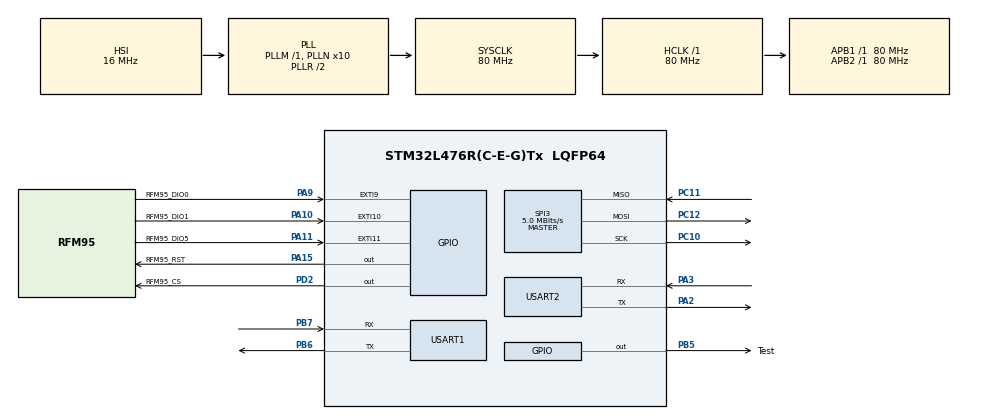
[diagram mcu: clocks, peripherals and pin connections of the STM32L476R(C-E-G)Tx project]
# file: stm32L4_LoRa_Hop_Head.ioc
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Dma.Request0=USART2_TX
Dma.USART2_TX.0.Direction=DMA_MEMORY_TO_PERIPH
Dma.USART2_TX.0.Instance=DMA1_Channel7
Dma.USART2_TX.0.MemDataAlignment=DMA_MDATAALIGN_BYTE
Dma.USART2_TX.0.MemInc=DMA_MINC_ENABLE
Dma.USART2_TX.0.Mode=DMA_NORMAL
Dma.USART2_TX.0.PeriphDataAlignment=DMA_PDATAALIGN_BYTE
Dma.USART2_TX.0.PeriphInc=DMA_PINC_DISABLE
Dma.USART2_TX.0.Priority=DMA_PRIORITY_LOW
Mcu.Family=STM32L4
Mcu.Name=STM32L476R(C-E-G)Tx
Mcu.Package=LQFP64
NVIC.DMA1_Channel7_IRQn=true\:0\:0\:false\:false\:true\:false\:true\:true
NVIC.EXTI15_10_IRQn=true\:0\:0\:false\:false\:true\:true\:true\:true
NVIC.EXTI9_5_IRQn=true\:0\:0\:false\:false\:true\:true\:true\:true
NVIC.LPTIM1_IRQn=true\:0\:0\:false\:false\:true\:true\:true\:true
NVIC.PriorityGroup=NVIC_PRIORITYGROUP_4
NVIC.RTC_WKUP_IRQn=true\:0\:0\:false\:false\:true\:true\:true\:true
NVIC.USART2_IRQn=true\:0\:0\:false\:false\:true\:true\:true\:true
PA10.GPIO_Label=RFM95_DIO1
PA10.Signal=GPXTI10
PA11.GPIO_Label=RFM95_DIO5
PA11.Signal=GPXTI11
PA13\ (JTMS-SWDIO).GPIO_Label=TMS
PA13\ (JTMS-SWDIO).Mode=Serial_Wire
PA13\ (JTMS-SWDIO).Signal=SYS_JTMS-SWDIO
PA14\ (JTCK-SWCLK).GPIO_Label=TCK
PA14\ (JTCK-SWCLK).Mode=Serial_Wire
PA14\ (JTCK-SWCLK).Signal=SYS_JTCK-SWCLK
PA15\ (JTDI).GPIO_Label=RFM95_RST
PA15\ (JTDI).GPIO_ModeDefaultOutputPP=GPIO_MODE_OUTPUT_OD
PA15\ (JTDI).GPIO_PuPd=GPIO_NOPULL
PA15\ (JTDI).PinState=GPIO_PIN_SET
PA15\ (JTDI).Signal=GPIO_Output
PA2.Mode=Asynchronous
PA2.Signal=USART2_TX
PA3.Mode=Asynchronous
PA3.Signal=USART2_RX
PA9.GPIO_Label=RFM95_DIO0
PA9.Signal=GPXTI9
PB3\ (JTDO-TRACESWO).GPIO_Label=SWO
PB3\ (JTDO-TRACESWO).Signal=SYS_JTDO-SWO
PB5.GPIO_Label=Test
PB5.Signal=GPIO_Output
PB6.Mode=Asynchronous
PB6.Signal=USART1_TX
PB7.GPIO_PuPd=GPIO_PULLDOWN
PB7.Mode=Asynchronous
PB7.Signal=USART1_RX
PC10.Mode=Full_Duplex_Master
PC10.Signal=SPI3_SCK
PC11.GPIO_PuPd=GPIO_PULLUP
PC11.Mode=Full_Duplex_Master
PC11.Signal=SPI3_MISO
PC12.Mode=Full_Duplex_Master
PC12.Signal=SPI3_MOSI
PC14-OSC32_IN\ (PC14).Mode=LSE-External-Oscillator
PC14-OSC32_IN\ (PC14).Signal=RCC_OSC32_IN
PC15-OSC32_OUT\ (PC15).Mode=LSE-External-Oscillator
PC15-OSC32_OUT\ (PC15).Signal=RCC_OSC32_OUT
PD2.GPIO_Label=RFM95_CS
PD2.GPIO_ModeDefaultOutputPP=GPIO_MODE_OUTPUT_PP
PD2.GPIO_PuPd=GPIO_PULLUP
PD2.GPIO_Speed=GPIO_SPEED_FREQ_MEDIUM
PD2.PinState=GPIO_PIN_SET
PD2.Signal=GPIO_Output
ProjectManager.HeapSize=0x200
ProjectManager.StackSize=0x400
ProjectManager.TargetToolchain=STM32CubeIDE
RCC.ADCFreq_Value=64000000
RCC.AHBFreq_Value=80000000
RCC.APB1Freq_Value=80000000
RCC.APB1TimFreq_Value=80000000
RCC.APB2Freq_Value=80000000
RCC.APB2TimFreq_Value=80000000
RCC.CK48CLockSelection=RCC_USBCLKSOURCE_PLL
RCC.CortexFreq_Value=80000000
RCC.HCLKFreq_Value=80000000
RCC.HSE_VALUE=8000000
RCC.HSI_VALUE=16000000
RCC.LPTIM1CLockSelection=RCC_LPTIM1CLKSOURCE_LSE
RCC.MSI_VALUE=4000000
RCC.PLLN=10
RCC.PLLQ=RCC_PLLQ_DIV8
RCC.PLLSourceVirtual=RCC_PLLSOURCE_HSI
RCC.PREFETCH_ENABLE=1
RCC.RTCClockSelection=RCC_RTCCLKSOURCE_LSE
RCC.SYSCLKFreq_VALUE=80000000
RCC.SYSCLKSource=RCC_SYSCLKSOURCE_PLLCLK
RCC.USBFreq_Value=20000000
RCC.VCOOutputFreq_Value=160000000
SPI3.BaudRatePrescaler=SPI_BAUDRATEPRESCALER_16
SPI3.CalculateBaudRate=5.0 MBits/s
SPI3.DataSize=SPI_DATASIZE_8BIT
SPI3.Direction=SPI_DIRECTION_2LINES
SPI3.Mode=SPI_MODE_MASTER
SPI3.VirtualType=VM_MASTER
USART1.VirtualMode-Asynchronous=VM_ASYNC
USART2.VirtualMode-Asynchronous=VM_ASYNC
VP_LPTIM1_VS_LPTIM_counterModeInternalClock.Mode=Counts__internal_clock_event_00
VP_RNG_VS_RNG.Mode=RNG_Activate
VP_RTC_VS_RTC_Activate.Mode=RTC_Enabled
VP_RTC_VS_RTC_Calendar.Mode=RTC_Calendar
VP_RTC_VS_RTC_WakeUp_intern.Mode=WakeUp
board=NUCLEO-L476RG

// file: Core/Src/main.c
/* USER CODE BEGIN Header */
/**
  ******************************************************************************
  * @file           : main.c
  * @brief          : Main program body
  ******************************************************************************
  * @attention
  *
  * Copyright (c) 2025 STMicroelectronics.
  * All rights reserved.
  *
  * This software is licensed under terms that can be found in the LICENSE file
  * in the root directory of this software component.
  * If no LICENSE file comes with this software, it is provided AS-IS.
  *
  ******************************************************************************
  */
/* USER CODE END Header */
#include "main.h"

/* USER CODE BEGIN Includes */
#include "stdio.h"
#include "string.h"
#include "lora.h"
#include "network_manager.h"
/* USER CODE END Includes */

/* USER CODE BEGIN PTD */
// rfm95 handler
rfm95_handle_t rfm95_handle = {0};

// network staus handler
network_ctx_t h_net = {0};

// RX PKT
typedef struct{
  uint8_t tx_attempts;  // TX attempts performed for this specific payload

  bool ack;             // Track ACKs for this packet

  uint8_t nodeID;       // Node ID for this packet

  uint16_t pktID;       // pkt ID to identify this specific payload

  uint8_t rx_bcID;      // ID of the breadcrumb that has received this packet from the environmental node

  uint8_t tx_bcID;      // ID of the breadcrumb that has transmitted this packet to this node

  uint8_t pl_len;       // Number of bytes of the entire packet

  uint8_t pl[LORA_PAYLOAD_MAX_SIZE]; // Pointer to the entire payload received (Buffer size fixed to avoid dynamic memory allocation)
} bc_pkt;

/* USER CODE END PTD */

LPTIM_HandleTypeDef hlptim1;

RNG_HandleTypeDef hrng;

RTC_HandleTypeDef hrtc;

SPI_HandleTypeDef hspi3;

UART_HandleTypeDef huart1;
UART_HandleTypeDef huart2;
DMA_HandleTypeDef hdma_usart2_tx;

/* USER CODE BEGIN PV */
// ------------- LPTIM ----------------
volatile uint32_t lptim_tick_msb = 1;

// handle RX and TX events
volatile bool rx_data;
volatile bool tx_data;

uint8_t serBuff[255];
uint8_t serBuff_len = 0;

volatile bool dmaRunning = false;

/* USER CODE END PV */

void SystemClock_Config(void);
static void MX_GPIO_Init(void);
static void MX_DMA_Init(void);
static void MX_RTC_Init(void);
static void MX_SPI3_Init(void);
static void MX_LPTIM1_Init(void);
static void MX_RNG_Init(void);
static void MX_USART1_UART_Init(void);
static void MX_USART2_UART_Init(void);
/* USER CODE BEGIN PFP */
int _write(int file, char *ptr, int len);
void debug_pin_set();
void debug_pin_rst();

static bool     init_rfm();
static uint32_t get_precision_tick();
static void 		precision_sleep_until(uint32_t target_ticks);
static uint8_t	get_battery_level();
static void     rfm95_after_interrupts_configured();

events_flags onRxEvt(rfm95_handle_t *h_rfm, bc_pkt *rx_pkt, network_ctx_t *h_net);
events_flags onTxEvt(rfm95_handle_t *h_rfm, bc_pkt *tx_pkt, network_ctx_t *h_net);

uint8_t get_random_number(uint32_t *random_number, uint16_t timeout);
static uint16_t random_wait(uint16_t min, uint16_t max);
static uint32_t get_currTime_ms();
static inline int julian_day(int year, int month, int day);

void MySystemClock_Config(void);
void enterStopMode();
/* USER CODE END PFP */

int main(void)
{

  /* MCU Configuration--------------------------------------------------------*/

  /* Reset of all peripherals, Initializes the Flash interface and the Systick. */
  HAL_Init();

  /* Configure the system clock */
  SystemClock_Config();

  /* Initialize all configured peripherals */
  MX_GPIO_Init();
  MX_DMA_Init();
  MX_RTC_Init();
  MX_SPI3_Init();
  MX_LPTIM1_Init();
  MX_RNG_Init();
  MX_USART1_UART_Init();
  MX_USART2_UART_Init();
  /* USER CODE BEGIN 2 */

  // needed after programming -> avoid conflicts with sleep mode
  HAL_Delay(2000);

  /*
   * Initialize network context as ROOT node.
   */
  network_init_root(&h_net);

  // init RF in RX mode
  if (!init_rfm()) {
#if DEBUG_PRINT_ON
    printf("Error during RFM initialization\r\n");
#endif
  }

  /* USER CODE END 2 */

  /* Infinite loop */
  /* USER CODE BEGIN WHILE */
  while (1){

    bc_pkt rx_pkt = {0};

    /* USER CODE END WHILE */

    /* USER CODE BEGIN 3 */
    if (rx_data) {

      // clear RX flag
      rx_data = 0;

      // Something recevived -> Process informations
      events_flags rx_flags = {0};
      rx_flags = onRxEvt(&rfm95_handle, &rx_pkt, &h_net);

      if (rx_flags.err_flags != 0)
      {
        // Error occurred...
        bool spi_err = rx_flags.err_flags & EVT_RFM_SPI_ERR;
        bool rx_err  = rx_flags.err_flags & EVT_RFM_RX_ERR;
        bool bad_pkt = rx_flags.err_flags & EVT_BAD_PKT_FORMAT;

        if (spi_err)
        {

          // reset RFM and restart in RX mode
          HAL_NVIC_DisableIRQ(EXTI15_10_IRQn);
          reset_rfm(&rfm95_handle);
          init_rfm();
        }
        if (rx_err)
        {
          // PKT dropped, do nothing...
        }
        if (bad_pkt)
        {

        }

      }

      else
      {
        // Plot payload on serial:
      	if ((dmaRunning == false) && (serBuff_len != 0))
      	{
      		HAL_UART_Transmit_DMA(&huart2, serBuff, serBuff_len);
					dmaRunning = true;
      	}
      }

      if (rfm95_handle.rfm_status != RXCONTIN_MODE)
      {
        // back in RX mode
        if (!tx_data) rfm95_enter_rx_mode(&rfm95_handle);
        else
        {
          // Tx pending -> before going back to RX mode TX must be performed!
        }
      }

    }

    if (tx_data)
    {  /* TX Pending */

      // TX ACK for the BC nodes
      events_flags tx_err_flags = {0};
      tx_err_flags = onTxEvt(&rfm95_handle, &rx_pkt, &h_net);

      if (tx_err_flags.err_flags != 0)
      {
        // Error occurred...
        bool spi_err = tx_err_flags.err_flags & EVT_RFM_SPI_ERR;

        if (spi_err)
        {
#if DEBUG_PRINT_ON
          printf("SPI ERROR\r\n");
#endif

          // reset RFM and restart in RX mode
					HAL_NVIC_DisableIRQ(EXTI15_10_IRQn);
          reset_rfm(&rfm95_handle);
          init_rfm();
        }
      }

      else
      {
        // back in RX mode
      	if (rfm95_handle.rfm_status != RXCONTIN_MODE)
      	{
      		rfm95_enter_rx_mode(&rfm95_handle);
      	}
      }

      tx_data = 0;  // clear TX flag
    }

    /* Nothing left -> RFM must be in RX mode */
    if (!rx_data && !tx_data && rfm95_handle.rfm_status != RXCONTIN_MODE)
    {
    	// reset RFM and restart in RX mode
			HAL_NVIC_DisableIRQ(EXTI15_10_IRQn);
			reset_rfm(&rfm95_handle);
			if (!init_rfm()) HAL_Delay(500);

		}

    else
    { /* TRY TO SLEEP */

			/* atomicity ensured during sleep entering */
			HAL_SuspendTick();
			__disable_irq();

			if (!rx_data && ! tx_data && !dmaRunning)
			{
				enterStopMode();
			}

			/* end of atomic block */
			HAL_ResumeTick();
			__enable_irq();

		}

  } // End of While superloop
  /* USER CODE END 3 */
}

void SystemClock_Config(void)
{
  RCC_OscInitTypeDef RCC_OscInitStruct = {0};
  RCC_ClkInitTypeDef RCC_ClkInitStruct = {0};

  /** Configure the main internal regulator output voltage
  */
  if (HAL_PWREx_ControlVoltageScaling(PWR_REGULATOR_VOLTAGE_SCALE1) != HAL_OK)
  {
    Error_Handler();
  }

  /** Configure LSE Drive Capability
  */
  HAL_PWR_EnableBkUpAccess();
  __HAL_RCC_LSEDRIVE_CONFIG(RCC_LSEDRIVE_LOW);

  /** Initializes the RCC Oscillators according to the specified parameters
  * in the RCC_OscInitTypeDef structure.
  */
  RCC_OscInitStruct.OscillatorType = RCC_OSCILLATORTYPE_HSI|RCC_OSCILLATORTYPE_LSE;
  RCC_OscInitStruct.LSEState = RCC_LSE_ON;
  RCC_OscInitStruct.HSIState = RCC_HSI_ON;
  RCC_OscInitStruct.HSICalibrationValue = RCC_HSICALIBRATION_DEFAULT;
  RCC_OscInitStruct.PLL.PLLState = RCC_PLL_ON;
  RCC_OscInitStruct.PLL.PLLSource = RCC_PLLSOURCE_HSI;
  RCC_OscInitStruct.PLL.PLLM = 1;
  RCC_OscInitStruct.PLL.PLLN = 10;
  RCC_OscInitStruct.PLL.PLLP = RCC_PLLP_DIV7;
  RCC_OscInitStruct.PLL.PLLQ = RCC_PLLQ_DIV8;
  RCC_OscInitStruct.PLL.PLLR = RCC_PLLR_DIV2;
  if (HAL_RCC_OscConfig(&RCC_OscInitStruct) != HAL_OK)
  {
    Error_Handler();
  }

  /** Initializes the CPU, AHB and APB buses clocks
  */
  RCC_ClkInitStruct.ClockType = RCC_CLOCKTYPE_HCLK|RCC_CLOCKTYPE_SYSCLK
                              |RCC_CLOCKTYPE_PCLK1|RCC_CLOCKTYPE_PCLK2;
  RCC_ClkInitStruct.SYSCLKSource = RCC_SYSCLKSOURCE_PLLCLK;
  RCC_ClkInitStruct.AHBCLKDivider = RCC_SYSCLK_DIV1;
  RCC_ClkInitStruct.APB1CLKDivider = RCC_HCLK_DIV1;
  RCC_ClkInitStruct.APB2CLKDivider = RCC_HCLK_DIV1;

  if (HAL_RCC_ClockConfig(&RCC_ClkInitStruct, FLASH_LATENCY_4) != HAL_OK)
  {
    Error_Handler();
  }
}

static void MX_LPTIM1_Init(void)
{

  hlptim1.Instance = LPTIM1;
  hlptim1.Init.Clock.Source = LPTIM_CLOCKSOURCE_APBCLOCK_LPOSC;
  hlptim1.Init.Clock.Prescaler = LPTIM_PRESCALER_DIV1;
  hlptim1.Init.Trigger.Source = LPTIM_TRIGSOURCE_SOFTWARE;
  hlptim1.Init.OutputPolarity = LPTIM_OUTPUTPOLARITY_HIGH;
  hlptim1.Init.UpdateMode = LPTIM_UPDATE_IMMEDIATE;
  hlptim1.Init.CounterSource = LPTIM_COUNTERSOURCE_INTERNAL;
  hlptim1.Init.Input1Source = LPTIM_INPUT1SOURCE_GPIO;
  hlptim1.Init.Input2Source = LPTIM_INPUT2SOURCE_GPIO;
  if (HAL_LPTIM_Init(&hlptim1) != HAL_OK)
  {
    Error_Handler();
  }

}

static void MX_RNG_Init(void)
{

  hrng.Instance = RNG;
  if (HAL_RNG_Init(&hrng) != HAL_OK)
  {
    Error_Handler();
  }

}

static void MX_RTC_Init(void)
{

  RTC_TimeTypeDef sTime = {0};
  RTC_DateTypeDef sDate = {0};

  /** Initialize RTC Only
  */
  hrtc.Instance = RTC;
  hrtc.Init.HourFormat = RTC_HOURFORMAT_24;
  hrtc.Init.AsynchPrediv = 127;
  hrtc.Init.SynchPrediv = 255;
  hrtc.Init.OutPut = RTC_OUTPUT_DISABLE;
  hrtc.Init.OutPutRemap = RTC_OUTPUT_REMAP_NONE;
  hrtc.Init.OutPutPolarity = RTC_OUTPUT_POLARITY_HIGH;
  hrtc.Init.OutPutType = RTC_OUTPUT_TYPE_OPENDRAIN;
  if (HAL_RTC_Init(&hrtc) != HAL_OK)
  {
    Error_Handler();
  }

  /** Initialize RTC and set the Time and Date
  */
  sTime.Hours = 0x0;
  sTime.Minutes = 0x0;
  sTime.Seconds = 0x0;
  sTime.DayLightSaving = RTC_DAYLIGHTSAVING_NONE;
  sTime.StoreOperation = RTC_STOREOPERATION_RESET;
  if (HAL_RTC_SetTime(&hrtc, &sTime, RTC_FORMAT_BCD) != HAL_OK)
  {
    Error_Handler();
  }
  sDate.WeekDay = RTC_WEEKDAY_MONDAY;
  sDate.Month = RTC_MONTH_JANUARY;
  sDate.Date = 0x1;
  sDate.Year = 0x0;

  if (HAL_RTC_SetDate(&hrtc, &sDate, RTC_FORMAT_BCD) != HAL_OK)
  {
    Error_Handler();
  }
  /* USER CODE BEGIN RTC_Init 2 */

  // Init RTC with reference date
  sTime.Hours = 0x0;
  sTime.Minutes = 0x0;
  sTime.Seconds = 0x0;
  sTime.DayLightSaving = RTC_DAYLIGHTSAVING_NONE;
  sTime.StoreOperation = RTC_STOREOPERATION_RESET;
  if (HAL_RTC_SetTime(&hrtc, &sTime, RTC_FORMAT_BCD) != HAL_OK)
  {
    Error_Handler();
  }
  sDate.WeekDay = RTC_WEEKDAY_MONDAY;
  sDate.Month = START_MONTH;
  sDate.Date = START_DAY;
  sDate.Year = START_YEAR;

  if (HAL_RTC_SetDate(&hrtc, &sDate, RTC_FORMAT_BCD) != HAL_OK)
  {
    Error_Handler();
  }

  // make sure RTC wkup is not running:
  HAL_RTCEx_DeactivateWakeUpTimer(&hrtc);

  /* USER CODE END RTC_Init 2 */

}

static void MX_SPI3_Init(void)
{

  /* SPI3 parameter configuration*/
  hspi3.Instance = SPI3;
  hspi3.Init.Mode = SPI_MODE_MASTER;
  hspi3.Init.Direction = SPI_DIRECTION_2LINES;
  hspi3.Init.DataSize = SPI_DATASIZE_8BIT;
  hspi3.Init.CLKPolarity = SPI_POLARITY_LOW;
  hspi3.Init.CLKPhase = SPI_PHASE_1EDGE;
  hspi3.Init.NSS = SPI_NSS_SOFT;
  hspi3.Init.BaudRatePrescaler = SPI_BAUDRATEPRESCALER_16;
  hspi3.Init.FirstBit = SPI_FIRSTBIT_MSB;
  hspi3.Init.TIMode = SPI_TIMODE_DISABLE;
  hspi3.Init.CRCCalculation = SPI_CRCCALCULATION_DISABLE;
  hspi3.Init.CRCPolynomial = 7;
  hspi3.Init.CRCLength = SPI_CRC_LENGTH_DATASIZE;
  hspi3.Init.NSSPMode = SPI_NSS_PULSE_ENABLE;
  if (HAL_SPI_Init(&hspi3) != HAL_OK)
  {
    Error_Handler();
  }
  /* USER CODE BEGIN SPI3_Init 2 */
  /*
   * This dummy sequence sets clock LOW when idle, MOSI and MISO to a definite state (either HIGH or LOW)
   */
   uint8_t dummy = 0xFF;
   HAL_SPI_Transmit(&hspi3, &dummy, 1, 10);

  /* USER CODE END SPI3_Init 2 */

}

static void MX_USART1_UART_Init(void)
{

  huart1.Instance = USART1;
  huart1.Init.BaudRate = 115200;
  huart1.Init.WordLength = UART_WORDLENGTH_8B;
  huart1.Init.StopBits = UART_STOPBITS_1;
  huart1.Init.Parity = UART_PARITY_NONE;
  huart1.Init.Mode = UART_MODE_TX_RX;
  huart1.Init.HwFlowCtl = UART_HWCONTROL_NONE;
  huart1.Init.OverSampling = UART_OVERSAMPLING_16;
  huart1.Init.OneBitSampling = UART_ONE_BIT_SAMPLE_DISABLE;
  huart1.AdvancedInit.AdvFeatureInit = UART_ADVFEATURE_NO_INIT;
  if (HAL_UART_Init(&huart1) != HAL_OK)
  {
    Error_Handler();
  }

}

static void MX_USART2_UART_Init(void)
{

  huart2.Instance = USART2;
  huart2.Init.BaudRate = 115200;
  huart2.Init.WordLength = UART_WORDLENGTH_8B;
  huart2.Init.StopBits = UART_STOPBITS_1;
  huart2.Init.Parity = UART_PARITY_NONE;
  huart2.Init.Mode = UART_MODE_TX_RX;
  huart2.Init.HwFlowCtl = UART_HWCONTROL_NONE;
  huart2.Init.OverSampling = UART_OVERSAMPLING_16;
  huart2.Init.OneBitSampling = UART_ONE_BIT_SAMPLE_DISABLE;
  huart2.AdvancedInit.AdvFeatureInit = UART_ADVFEATURE_NO_INIT;
  if (HAL_UART_Init(&huart2) != HAL_OK)
  {
    Error_Handler();
  }

}

static void MX_DMA_Init(void)
{

  /* DMA controller clock enable */
  __HAL_RCC_DMA1_CLK_ENABLE();

  /* DMA interrupt init */
  /* DMA1_Channel7_IRQn interrupt configuration */
  HAL_NVIC_SetPriority(DMA1_Channel7_IRQn, 0, 0);
  HAL_NVIC_EnableIRQ(DMA1_Channel7_IRQn);

}

static void MX_GPIO_Init(void)
{
  GPIO_InitTypeDef GPIO_InitStruct = {0};

  /* GPIO Ports Clock Enable */
  __HAL_RCC_GPIOC_CLK_ENABLE();
  __HAL_RCC_GPIOH_CLK_ENABLE();
  __HAL_RCC_GPIOA_CLK_ENABLE();
  __HAL_RCC_GPIOB_CLK_ENABLE();
  __HAL_RCC_GPIOD_CLK_ENABLE();

  /*Configure GPIO pin Output Level */
  HAL_GPIO_WritePin(RFM95_RST_GPIO_Port, RFM95_RST_Pin, GPIO_PIN_SET);

  /*Configure GPIO pin Output Level */
  HAL_GPIO_WritePin(RFM95_CS_GPIO_Port, RFM95_CS_Pin, GPIO_PIN_SET);

  /*Configure GPIO pin Output Level */
  HAL_GPIO_WritePin(Test_GPIO_Port, Test_Pin, GPIO_PIN_RESET);

  /*Configure GPIO pins : PC13 PC0 PC1 PC2
                           PC3 PC4 PC5 PC6
                           PC7 PC8 PC9 */
  GPIO_InitStruct.Pin = GPIO_PIN_13|GPIO_PIN_0|GPIO_PIN_1|GPIO_PIN_2
                          |GPIO_PIN_3|GPIO_PIN_4|GPIO_PIN_5|GPIO_PIN_6
                          |GPIO_PIN_7|GPIO_PIN_8|GPIO_PIN_9;
  GPIO_InitStruct.Mode = GPIO_MODE_ANALOG;
  GPIO_InitStruct.Pull = GPIO_NOPULL;
  HAL_GPIO_Init(GPIOC, &GPIO_InitStruct);

  /*Configure GPIO pins : PH0 PH1 */
  GPIO_InitStruct.Pin = GPIO_PIN_0|GPIO_PIN_1;
  GPIO_InitStruct.Mode = GPIO_MODE_ANALOG;
  GPIO_InitStruct.Pull = GPIO_NOPULL;
  HAL_GPIO_Init(GPIOH, &GPIO_InitStruct);

  /*Configure GPIO pins : PA0 PA1 PA4 PA5
                           PA6 PA7 PA8 PA12 */
  GPIO_InitStruct.Pin = GPIO_PIN_0|GPIO_PIN_1|GPIO_PIN_4|GPIO_PIN_5
                          |GPIO_PIN_6|GPIO_PIN_7|GPIO_PIN_8|GPIO_PIN_12;
  GPIO_InitStruct.Mode = GPIO_MODE_ANALOG;
  GPIO_InitStruct.Pull = GPIO_NOPULL;
  HAL_GPIO_Init(GPIOA, &GPIO_InitStruct);

  /*Configure GPIO pins : PB0 PB1 PB2 PB10
                           PB11 PB12 PB13 PB14
                           PB15 PB4 PB8 PB9 */
  GPIO_InitStruct.Pin = GPIO_PIN_0|GPIO_PIN_1|GPIO_PIN_2|GPIO_PIN_10
                          |GPIO_PIN_11|GPIO_PIN_12|GPIO_PIN_13|GPIO_PIN_14
                          |GPIO_PIN_15|GPIO_PIN_4|GPIO_PIN_8|GPIO_PIN_9;
  GPIO_InitStruct.Mode = GPIO_MODE_ANALOG;
  GPIO_InitStruct.Pull = GPIO_NOPULL;
  HAL_GPIO_Init(GPIOB, &GPIO_InitStruct);

  /*Configure GPIO pins : RFM95_DIO0_Pin RFM95_DIO1_Pin RFM95_DIO5_Pin */
  GPIO_InitStruct.Pin = RFM95_DIO0_Pin|RFM95_DIO1_Pin|RFM95_DIO5_Pin;
  GPIO_InitStruct.Mode = GPIO_MODE_IT_RISING;
  GPIO_InitStruct.Pull = GPIO_NOPULL;
  HAL_GPIO_Init(GPIOA, &GPIO_InitStruct);

  /*Configure GPIO pin : RFM95_RST_Pin */
  GPIO_InitStruct.Pin = RFM95_RST_Pin;
  GPIO_InitStruct.Mode = GPIO_MODE_OUTPUT_OD;
  GPIO_InitStruct.Pull = GPIO_NOPULL;
  GPIO_InitStruct.Speed = GPIO_SPEED_FREQ_LOW;
  HAL_GPIO_Init(RFM95_RST_GPIO_Port, &GPIO_InitStruct);

  /*Configure GPIO pin : RFM95_CS_Pin */
  GPIO_InitStruct.Pin = RFM95_CS_Pin;
  GPIO_InitStruct.Mode = GPIO_MODE_OUTPUT_PP;
  GPIO_InitStruct.Pull = GPIO_PULLUP;
  GPIO_InitStruct.Speed = GPIO_SPEED_FREQ_MEDIUM;
  HAL_GPIO_Init(RFM95_CS_GPIO_Port, &GPIO_InitStruct);

  /*Configure GPIO pin : Test_Pin */
  GPIO_InitStruct.Pin = Test_Pin;
  GPIO_InitStruct.Mode = GPIO_MODE_OUTPUT_PP;
  GPIO_InitStruct.Pull = GPIO_NOPULL;
  GPIO_InitStruct.Speed = GPIO_SPEED_FREQ_LOW;
  HAL_GPIO_Init(Test_GPIO_Port, &GPIO_InitStruct);

  /* EXTI interrupt init*/
  HAL_NVIC_SetPriority(EXTI9_5_IRQn, 0, 0);
  HAL_NVIC_EnableIRQ(EXTI9_5_IRQn);

//  HAL_NVIC_SetPriority(EXTI15_10_IRQn, 0, 0);
//  HAL_NVIC_EnableIRQ(EXTI15_10_IRQn);

}

/* USER CODE BEGIN 4 */

// -------------- RFM95 user defined functions -------------------

/*
 *
 */
bool init_rfm(){

  // Start lptim timer
  HAL_LPTIM_Counter_Start_IT(&hlptim1, 0xFFFF);

  // config RFM95
  rfm95_handle.rfm_timer  = &hlptim1;
  rfm95_handle.spi_handle = &hspi3;
  rfm95_handle.nrst_port  = RFM95_RST_GPIO_Port;
  rfm95_handle.nrst_pin   = RFM95_RST_Pin;
  rfm95_handle.nss_port   = RFM95_CS_GPIO_Port;
  rfm95_handle.nss_pin    = RFM95_CS_Pin;

  rfm95_handle.precision_tick_frequency = LSE_CLK;
  rfm95_handle.precision_tick_drift_ns_per_s = 20000;
  rfm95_handle.get_precision_tick = get_precision_tick;
  rfm95_handle.precision_sleep_until = precision_sleep_until;
  rfm95_handle.on_after_interrupts_configured = rfm95_after_interrupts_configured;
  //rfm95_handle.random_int = random_int;
  rfm95_handle.get_battery_level = get_battery_level;

  // Modify parameters here:
  rfm95_set_power(&rfm95_handle, LORA_TX_POWER); // power 2 dBm - 17 dBm
  rfm95_set_frequency(&rfm95_handle, LORA_CH_FREQ);
  rfm95_set_BW(&rfm95_handle, LORA_BW);
  rfm95_set_CR(&rfm95_handle, LORA_CR);
  rfm95_set_SF(&rfm95_handle, LORA_SF);
  rfm95_set_syncWord(&rfm95_handle, LORA_SYNC_WORD);

  // initialize RFM95
  if(!rfm95_init(&rfm95_handle)) return false;

  // set RFM95 to continuous RX mode
  if(!rfm95_enter_rx_mode(&rfm95_handle)) return false;

  return true;
}

/*
 * return precise timing based on internal LPTIM module
 */
static uint32_t get_precision_tick(){
	__disable_irq();
	uint32_t precision_tick = lptim_tick_msb | HAL_LPTIM_ReadCounter(&hlptim1);
	__enable_irq();
	return precision_tick;
}

/*
 * Allows to set the MCU into STOP2 mode with accurate wkup timer
 */
static void precision_sleep_until(uint32_t target_ticks){
	while(1){
		uint32_t curr_tick = get_precision_tick();

		// exit condition:
		if(target_ticks < curr_tick) break;

		uint32_t sleep_ticks = target_ticks - curr_tick;

		// avoid short sleep intervals:
		if(sleep_ticks < 10) break;
		else {
			// overall CMP value - some margin (needed to reset clock configurations after stop mode2)
			uint32_t compare_tick = (curr_tick & 0xFFFF) + sleep_ticks - 10;

			if (compare_tick >= 0xFFFF){ // ARR will awake MCU before compare
				HAL_SuspendTick();
				enterStopMode();
			} else { // otherwise CMP keeps MCU sleep all time
				__HAL_LPTIM_CLEAR_FLAG(&hlptim1, LPTIM_FLAG_CMPOK);
				__HAL_LPTIM_COMPARE_SET(&hlptim1, compare_tick);            // set CMP limit

				while (!__HAL_LPTIM_GET_FLAG(&hlptim1, LPTIM_FLAG_CMPOK));  // wait for effective change

				__HAL_LPTIM_CLEAR_FLAG(&hlptim1, LPTIM_FLAG_CMPM);          // clear CMP interrupt flag
				__HAL_LPTIM_ENABLE_IT(&hlptim1, LPTIM_IT_CMPM);             // enable CMP interrupt

				HAL_SuspendTick();
				enterStopMode();

				__HAL_LPTIM_DISABLE_IT(&hlptim1, LPTIM_IT_CMPM);            // disable CMP interrupt
			}
		}
	}

	while(get_precision_tick() < target_ticks);                       // wait residue time here ( < 10 ticks)
}

static uint8_t get_battery_level(){
	return 0;
}

/*
 * This function is executed after initializing rfm95 (ready to accept interrupts
 * without hard fault errors)
 */
void rfm95_after_interrupts_configured(){
  HAL_NVIC_SetPriority(EXTI15_10_IRQn, 0, 0);
  HAL_NVIC_EnableIRQ(EXTI15_10_IRQn);
}

/* Get random number from internal RNG.
 * This function automatically manages activation/de-activation of RNG module to save power
 *
 * return values:
 * - 0 = no errors
 * - 1 = timeout
 * - 2 = seed error  -> RNG must be reinitialized (random number must be discarded)
 * - 3 = Clock error -> ensure rng_clk >= ahb_clk/16 (>= 5 MHz)
 */
uint8_t get_random_number(uint32_t *random_number, uint16_t timeout){

  // enable RNG peripheral:
  __HAL_RNG_ENABLE(&hrng);

  // clear clock error and seed error interrupt flags:
  __HAL_RNG_CLEAR_IT(&hrng, RNG_IT_CEI);
  __HAL_RNG_CLEAR_IT(&hrng, RNG_IT_SEI);

  // wait for data ready bit to be set:
  uint32_t start = HAL_GetTick();
  while(!__HAL_RNG_GET_FLAG(&hrng, RNG_FLAG_DRDY)){
    if (HAL_GetTick() - start > timeout) {
      __HAL_RNG_DISABLE(&hrng);
      return 1;
    }
  }

  // RNG can be switched off here:
  __HAL_RNG_DISABLE(&hrng);

  // check seed error:
  if(__HAL_RNG_GET_IT(&hrng, RNG_IT_SEI)) return 2;

  // check clock error:
  if(__HAL_RNG_GET_IT(&hrng, RNG_IT_CEI)) return 3;

  *random_number = hrng.Instance->DR;

  // check event seed error occurred while loading data:
  if(*random_number == 0) return 2;

  return 0;
}

/* Generate random number in range [min, max] expressed in
 * milliseconds
 *
 * If min > max, or max == 0, the random wait is skipped,
 * and 0 is returned as default.
 *
 * @param uint16_t  max represents maximum time (in ms)
 * @param uint16_t  min represents minimum time (in ms)
 *
 * @return uint16_t in range [min, max]
 */
static uint16_t random_wait(uint16_t min, uint16_t max){
  if ((min >= max) || (max == 0)) return 0;

  uint32_t num;
  uint8_t rng_err = get_random_number(&num, 1);

  if (rng_err){
    // TODO handle potential rng seed error/clock error here...

    num = 0;
  }

  uint16_t range = max - min + 1;
  return (uint16_t)(min + (num % range));
}

/*
 * Julian day algorithm... Not really needed here
 */
static inline int julian_day(int year, int month, int day){
  if (month <= 2) {
    year -= 1;
    month += 12;
  }
  int A = year / 100;
  int B = 2 - A + (A / 4);
  int jd = (int)(365.25 * (year + 4716))
         + (int)(30.6001 * (month + 1))
         + day + B - 1524;
  return jd;
}

/*
 * Get time elapsed from program start (in ms)
 *
 * @return uint32_t expressing time elapsed since program start (in ms)
 */
static uint32_t get_currTime_ms(){
  RTC_TimeTypeDef sTime;
  RTC_DateTypeDef sDate;

  HAL_RTC_GetTime(&hrtc, &sTime, RTC_FORMAT_BIN);
  HAL_RTC_GetDate(&hrtc, &sDate, RTC_FORMAT_BIN);  // latch time

  // compute time elapsed in days
  int ref_day = julian_day(START_YEAR_DEC, START_MONTH_DEC, START_DAY_DEC);
  int today   = julian_day(sDate.Year, sDate.Month, sDate.Date);

  uint32_t days_elapsed = today - ref_day;

  uint32_t days_elapsed_ms = days_elapsed * MS_PER_DAY;

  // read milliseconds register:
  uint16_t milliseconds = (uint16_t)(((sTime.SecondFraction - sTime.SubSeconds) * 1000U) / (sTime.SecondFraction + 1));

  // milliseconds elapsed since reference date:
  uint32_t now_ms = days_elapsed_ms + ((sTime.Hours * S_PER_HOUR + sTime.Minutes * S_PER_MIN + sTime.Seconds)*MS_PER_S) + milliseconds;

  return now_ms;
}

/*
 * On RX the HEAD node will behave as following:
 *
 * - discard invalid pkts (those with wrong formatting)
 * - TX full (unformatted) payload on serial port
 * - determine if a TX is needed as an ACK:
 *      TX are always performed except for:
 *            * PKTs received directly from environmental nodes
 *            * ALARM ACK PKTs, i.e. a node specifically scheduling a TX to send an ACK
 *              to a node behind in the sequence ( in this case, the node which is transmistting
 *              the ACK has already received its ACK, so it dosen't need an additional TX from us!)
 *
 *
 * @param rfm95_handle_t *h_rfm pointer to RFM handler
 * @param bc_pkt *rx_pkt pointer to structure holding all the informations for PKTs travelling
 *                       in the BCs sequence.
 *
 * @return event_flags falgs for RX events (see app_events.h in other files...)
 */
events_flags onRxEvt(rfm95_handle_t *h_rfm, bc_pkt *rx_pkt, network_ctx_t *h_net)
{
  /* track error flags */
  events_flags app_flags = {0};
  tx_data = false;
  serBuff_len = 0;

  /* rx parameters */
  int8_t snr;
  int16_t rssi;

  /* set standby mode to read data from rfm95 */
  if(!rfm95_stdby(h_rfm)) app_flags.err_flags |= EVT_RFM_SPI_ERR;

  /* read received data */
  if(!rfm95_receive(h_rfm, &rx_pkt->pl[0], &rx_pkt->pl_len, &snr, &rssi))app_flags.err_flags |= EVT_RFM_RX_ERR;

  /* If any error occurred, stop code here */
  if(app_flags.err_flags != 0)
  {
    return app_flags;
  }

  /* read received sync word */
  uint16_t rx_sync = (uint16_t)((rx_pkt->pl[SYNC_WORD_POS] << 8) | rx_pkt->pl[SYNC_WORD_POS+1]);

  /* =========================================================
   * NETWORK DISCOVERY PACKETS
   * ========================================================= */
  if (rx_sync == DISCOVERY_SYNC_WORD)
  {
		network_rx_action_t net_action =
				network_process_rx(
						h_net,
						rx_pkt->pl,
						rx_pkt->pl_len,
						rssi,
						snr
				);

		if (net_action == NET_RX_BAD_PACKET)
		{
			app_flags.err_flags |= EVT_BAD_PKT_FORMAT;

			return app_flags;
		}

		/*
		 * DISC_REQ  -> DISC_OFFER
		 * DISC_ACCEPT -> DISC_CONFIRM
		 */
		if (net_action == NET_RX_SCHEDULE_TX)
		{
			tx_data = true;
		}

		return app_flags;
  }

  /* =========================================================
	 * ALARM / ENVIRONMENTAL PKTs
	 * ========================================================= */
  if (!( ((rx_pkt->pl_len == ENV_NODE_PYL_SIZE) && (rx_sync == SYNC_WORD_ENV)) ||
         ((rx_pkt->pl_len >= BC_NODE_MIN_PYL_SIZE) && (rx_sync == SYNC_WORD_BC)) ))
  {

    app_flags.err_flags |= EVT_BAD_PKT_FORMAT;
    return app_flags;
  }

  // extract nodeID
  rx_pkt->nodeID = rx_pkt->pl[NODE_ID_POS];

  // byte1 and byte2 = pktID
  rx_pkt->pktID = (rx_pkt->pl[PKT_ID_MSB_POS] << 8) | rx_pkt->pl[PKT_ID_LSB_POS];

  // get entire mask field
  uint8_t pkt_mask = rx_pkt->pl[MASK_POS];

  // get alarm bit
  bool alarm_bit_set = (pkt_mask & MASK_ALARM_BIT) >> ALARM_BIT_POS;

  // rx_bcID and tx_bcID depend on subsequent conditions
  if ((rx_pkt->pl_len == ENV_NODE_PYL_SIZE) && (rx_sync == SYNC_WORD_ENV))		 /* receiving from an ENV NODE */
  {

    // simply plot ENV node data, no TX needed...
    memcpy(serBuff, rx_pkt->pl, rx_pkt->pl_len);
    serBuff[RSSI_POS] =   (rssi >> 8) & 0xFF;
    serBuff[RSSI_POS+1] = (rssi >> 0) & 0xFF;

    serBuff_len = rx_pkt->pl_len + RSSI_BYTES;

  }

  else if ((rx_pkt->pl_len > ENV_NODE_PYL_SIZE) && (rx_sync == SYNC_WORD_BC))  /* receiving fron BC NODE -> some hops happened */
  {

    /*
     * if receiving from bcNode, at least one Hop happened
     * -> extarct 1st bc ID and last bc ID in the hopping sequence
     */

    /* This lines are used only by the serial device to correctly recognize the sequence of bytes*/
    uint8_t dummy_len = rx_pkt->pl_len;
    uint8_t performed_hops = dummy_len - (uint8_t)(BC_ID1_POS);

    // copy up to BCs sequence
    memcpy(serBuff, rx_pkt->pl, BC_ID1_POS);
    serBuff_len = BC_ID1_POS;

    // add number of BCs
    serBuff[serBuff_len++] = performed_hops;

    // copy BCs sequence
    memcpy(&serBuff[serBuff_len], &rx_pkt->pl[BC_ID1_POS], performed_hops);
    serBuff_len+=performed_hops;

    // add RSSI between RX-node and last TX BC in the HOP sequence
    serBuff[serBuff_len++] = (rssi >> 8) & 0xFF;
		serBuff[serBuff_len++] = (rssi >> 0) & 0xFF;

    rx_pkt->tx_bcID = rx_pkt->pl[rx_pkt->pl_len - 1];  // last RX byte corresponds to the BC_ID of the last BC in the hop-sequence

    // get the BC_ID of the 1st BC in the hop-sequence
    rx_pkt->rx_bcID = rx_pkt->pl[BC_ID1_POS];

    if (rx_pkt->tx_bcID > h_net->node_id) 	/* RX from node farther in the BCs sequence --> UPLINK */
    {

      if (alarm_bit_set) /* Uplink for ALARM PKTs */
      {

        bool is_ack = ((rx_pkt->pl[MASK_POS] & MASK_ALARM_ACK) >> ACK_BIT_POS) & 0x01;
        // If set no TX needed...

        // If not set -> ACK is needed
        if(!is_ack) tx_data = true;

      }

      else 							/* Handle Uplink for normal PKTs */
      {

        // respond back with MY BC ID added
        tx_data = true;

      }

    }

    else 								/* RX from node ahead in the BCs sequence --> ACK */
    {

      // Error... This node is the head!

    }

  }

  else 		 /* BAD PKT format */
  {

    app_flags.err_flags |= EVT_BAD_PKT_FORMAT;

  }

  return app_flags;
}

/*
 * On TX event HEAD node simply retransmitts the entire payload by adding
 * its own informations (i.e. BC_ID = 0).
 *
 * Indeed, other nodes in the sequence will treat the head BC-ID PKT as an ACK.
 * (Node with higher priority in teh sequence has received the intended pkt).
 */
events_flags onTxEvt(rfm95_handle_t *h_rfm, bc_pkt *tx_pkt, network_ctx_t *h_net){

  events_flags app_flags = {0};

  /*
	 * ---------------------------------------------------------
	 * NETWORK CONTROL TX
	 * ---------------------------------------------------------
	 *
	 * On ROOT this can currently be:
	 *
	 * DISC_OFFER
	 * DISC_CONFIRM
	 */
	if (h_net->pending_net_tx != NET_PKT_NONE)
	{
		uint8_t payload[LORA_PAYLOAD_MAX_SIZE];
		uint8_t payload_len = 0;

		if (!network_build_pending_tx(
						h_net,
						payload,
						&payload_len))
		{
			/*
			 * Inconsistent network state
			 */
			app_flags.err_flags |= EVT_BAD_PKT_FORMAT;
			return app_flags;
		}

		if (!rfm95_send(
						h_rfm,
						payload,
						payload_len))
		{
			app_flags.err_flags |= EVT_RFM_SPI_ERR;
			return app_flags;
		}

		/*
		 * Update network FSM only after successful TX.
		 */
		network_on_tx_done(h_net);
	}

	/*
	 * ---------------------------------------------------------
	 * NORMAL / ALARM ACK
	 * ---------------------------------------------------------
	 */
	else
	{
		/*
		 * Add ROOT node ID.
		 */
		tx_pkt->pl[tx_pkt->pl_len] =
				h_net->node_id;

		tx_pkt->pl_len++;

		if (!rfm95_send(
						h_rfm,
						tx_pkt->pl,
						tx_pkt->pl_len))
		{
			app_flags.err_flags |= EVT_RFM_SPI_ERR;

			return app_flags;
		}
	}

	/*
	 * Whatever we transmitted, immediately return
	 * to continuous RX mode.
	 */
	if (!rfm95_enter_rx_mode(h_rfm))
	{
		app_flags.err_flags |= EVT_RFM_SPI_ERR;
	}

	return app_flags;
}

// --------------------------------------------------------------------------------------

// -------------------------- System Power down routines --------------------------------

/*
 * Enter stop mode and resume clock configurations on exit
 */
void enterStopMode(){

  // Stop LPTIM and clear pending bits
  HAL_LPTIM_Counter_Stop_IT(&hlptim1);
  LPTIM1->ICR |= 0x3F;

  // CLear LPTIM IRQ at NVIC level
  NVIC_ClearPendingIRQ(LPTIM1_IRQn);

  // wake from HSI --> faster wake up sequence:
	__HAL_RCC_WAKEUPSTOP_CLK_CONFIG(RCC_STOP_WAKEUPCLOCK_HSI);

	// Enter stop mode 2:
	HAL_PWREx_EnterSTOP2Mode(PWR_STOPENTRY_WFI);

	// awake here...

	// resume system clock:
	if(READ_BIT(RCC->CR, RCC_CR_PLLRDY) == 0U) MySystemClock_Config();

	// resume system tick with correct clock
//	__enable_irq();
//	HAL_ResumeTick();

	// Enable LPTIM again:
	HAL_LPTIM_Counter_Start_IT(&hlptim1, 0xFFFF);

	//while(get_precision_tick() == 0);
}

/*
 * Modified clock setup function:
 * -> Avoid repeating initialization for the LSE 32 kHz clock if already running.
 *    Doing this every time the MCU exits STOP mode, results in a corrupted timing accuracy.
 */
void MySystemClock_Config(void) {
  RCC_OscInitTypeDef RCC_OscInitStruct = {0};
  RCC_ClkInitTypeDef RCC_ClkInitStruct = {0};

  /** Configure the main internal regulator output voltage
  */
  if (HAL_PWREx_ControlVoltageScaling(PWR_REGULATOR_VOLTAGE_SCALE1) != HAL_OK)
  {
    Error_Handler();
  }

  /** Configure LSE Drive Capability only if it
  */
  if ((HAL_IS_BIT_SET(RCC->BDCR, RCC_BDCR_LSEON) == 0) || (HAL_IS_BIT_SET(RCC->BDCR, RCC_BDCR_LSERDY)) != 1){
  	HAL_PWR_EnableBkUpAccess();
		__HAL_RCC_LSEDRIVE_CONFIG(RCC_LSEDRIVE_LOW);

		RCC_OscInitStruct.OscillatorType = RCC_OSCILLATORTYPE_LSE;
  }

  /** Initializes the RCC Oscillators according to the specified parameters
  * in the RCC_OscInitTypeDef structure.
  */
  RCC_OscInitStruct.OscillatorType |= RCC_OSCILLATORTYPE_HSI;
  RCC_OscInitStruct.LSEState = RCC_LSE_ON;
  RCC_OscInitStruct.HSIState = RCC_HSI_ON;
  RCC_OscInitStruct.HSICalibrationValue = RCC_HSICALIBRATION_DEFAULT;
  RCC_OscInitStruct.PLL.PLLState = RCC_PLL_ON;
  RCC_OscInitStruct.PLL.PLLSource = RCC_PLLSOURCE_HSI;
  RCC_OscInitStruct.PLL.PLLM = 1;
  RCC_OscInitStruct.PLL.PLLN = 10;
  RCC_OscInitStruct.PLL.PLLP = RCC_PLLP_DIV7;
  RCC_OscInitStruct.PLL.PLLQ = RCC_PLLQ_DIV8;
  RCC_OscInitStruct.PLL.PLLR = RCC_PLLR_DIV2;
  if (HAL_RCC_OscConfig(&RCC_OscInitStruct) != HAL_OK)
  {
    Error_Handler();
  }

  /** Initializes the CPU, AHB and APB buses clocks
  */
  RCC_ClkInitStruct.ClockType = RCC_CLOCKTYPE_HCLK|RCC_CLOCKTYPE_SYSCLK
                              |RCC_CLOCKTYPE_PCLK1|RCC_CLOCKTYPE_PCLK2;
  RCC_ClkInitStruct.SYSCLKSource = RCC_SYSCLKSOURCE_PLLCLK;
  RCC_ClkInitStruct.AHBCLKDivider = RCC_SYSCLK_DIV1;
  RCC_ClkInitStruct.APB1CLKDivider = RCC_HCLK_DIV1;
  RCC_ClkInitStruct.APB2CLKDivider = RCC_HCLK_DIV1;

  if (HAL_RCC_ClockConfig(&RCC_ClkInitStruct, FLASH_LATENCY_4) != HAL_OK)
  {
    Error_Handler();
  }
}

// --------------------------------------------------------------------------------------

// ------------------------------------- Call-backs --------------------------------------

// Auto-reload callback for LPTIM module
void HAL_LPTIM_AutoReloadMatchCallback(LPTIM_HandleTypeDef *hlptim){
  lptim_tick_msb += 0x10000;
}

// Compare match callback for LPTIM module
void HAL_LPTIM_CompareMatchCallback(LPTIM_HandleTypeDef *hlptim){
  // do nothing...
}

// RTC wkup timer -> needed to schedule tx events
void HAL_RTCEx_WakeUpTimerEventCallback(RTC_HandleTypeDef *hrtc){

}

// GPIO external interrupts callback
void HAL_GPIO_EXTI_Callback(uint16_t GPIO_Pin){

	// Events on RFM95 interrupt pins
  if (GPIO_Pin == RFM95_DIO0_Pin) {
    rfm95_on_interrupt(&rfm95_handle, RFM95_INTERRUPT_DIO0);

    // something received
    if(rfm95_handle.rfm_status == RXCONTIN_MODE) rx_data = true;

  } else if (GPIO_Pin == RFM95_DIO1_Pin) {
    rfm95_on_interrupt(&rfm95_handle, RFM95_INTERRUPT_DIO1);
  } else if (GPIO_Pin == RFM95_DIO5_Pin) {
    rfm95_on_interrupt(&rfm95_handle, RFM95_INTERRUPT_DIO5);
  }

}

// USART callback
void HAL_UART_TxCpltCallback(UART_HandleTypeDef *huart)
{
  if (huart->Instance == USART2)
  {
    dmaRunning = false;
  }
}

// ----------------------------------------------------------------------------------------

// --------------------------------- DEBUG FUNCTIONS --------------------------------------

/*
 * Function used to print on UART serial (DEBUG)
 */
int _write(int file, char *ptr, int len) {
  HAL_UART_Transmit(&huart2, (uint8_t *)ptr, len, HAL_MAX_DELAY);
  return len;
}

/*
 * Use these two functions to SET/RESET the debug pin.
 * This allows to measure precise timing with an external DSO/Meter.
 *
 * example:
 *
 *  debug_pin_set();
 *  target_function();
 *  debug_pin_reset();
 *
 * allows to measure time execution of the target_function().
 */
void debug_pin_set(){
  HAL_GPIO_WritePin(Test_GPIO_Port, Test_Pin, GPIO_PIN_SET);
}

void debug_pin_rst(){
  HAL_GPIO_WritePin(Test_GPIO_Port, Test_Pin, GPIO_PIN_RESET);
}

// -----------------------------------------------------------------------------------------

/* USER CODE END 4 */

void Error_Handler(void)
{
  __disable_irq();
  while (1)
  {
  }
}
